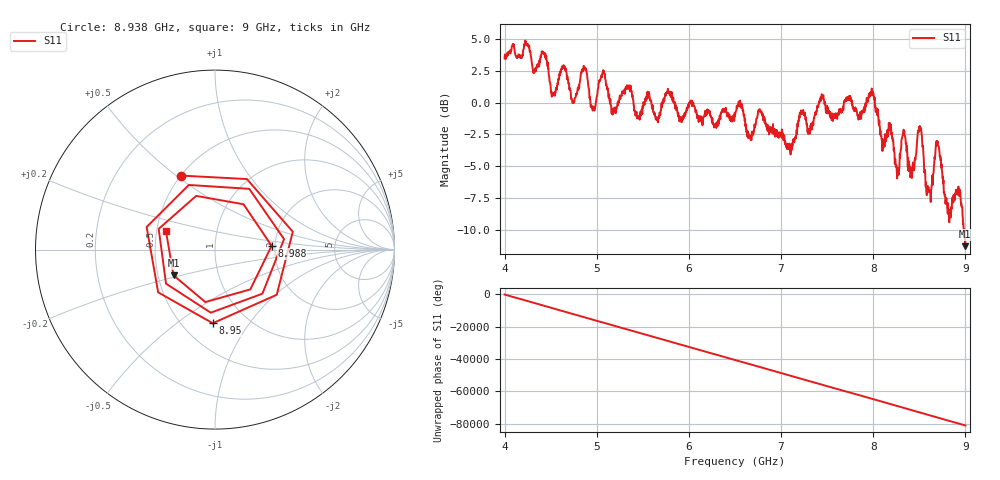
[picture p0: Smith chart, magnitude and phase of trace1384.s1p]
! Created with skrf 1.8.0 (http://scikit-rf.org).
# Hz S RI R 50.0
!freq ReS11 ImS11
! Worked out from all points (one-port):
!   1601 points, 4 GHz to 9 GHz, reference 50 ohm
!   lowest |S11| = -11.3 dB at 8.997 GHz (marker M1), VSWR 1.75, Z = 30.1 - j9.33 ohm
!   |S11| at or under -10 dB: 8.981134 GHz to 8.987985 GHz (6.851 MHz wide, 0.0763 % of centre); 8.98801 GHz to end of sweep
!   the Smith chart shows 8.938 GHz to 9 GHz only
!   S11 on the Smith chart (normalised r, x): 8.938 GHz: 0.50, +0.52; 8.95 GHz: 0.70, -0.69; 8.988 GHz: 1.92, +0.09; 9 GHz: 0.56, +0.12
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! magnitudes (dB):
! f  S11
! 4 GHz  3.5
! 4.428 GHz  3.8
! 4.528 GHz  0.7
! 4.625 GHz  2.8
! 4.747 GHz  0.1
! 4.862 GHz  2.8
! 4.959 GHz  -0.3
! 5.062 GHz  2.3
! 5.25 GHz  0.6
! 5.875 GHz  -0.7
! 6.5 GHz  -1.1
! 7.125 GHz  -3.4
! 7.222 GHz  -0.8
! 7.75 GHz  0.5
! 7.988 GHz  0.8
! 8.259 GHz  -6.0
! 8.331 GHz  -2.1
! 8.375 GHz  -5.1
! 8.425 GHz  -5.3
! 8.506 GHz  -1.8
! 8.6 GHz  -6.7
! 8.697 GHz  -3.0
! 8.819 GHz  -8.6
! 8.938 GHz  -6.8
! 8.95 GHz  -7.7
! 8.988 GHz  -10.0
! 8.997 GHz  -11.3
! 9 GHz  -10.7
